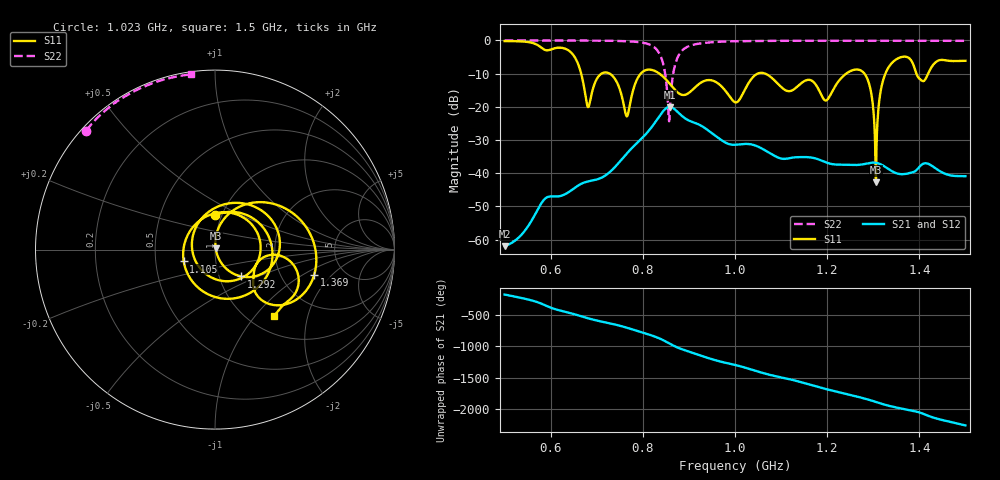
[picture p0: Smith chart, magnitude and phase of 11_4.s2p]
! TOUCHSTONE file generated by CST MICROWAVE STUDIO
! Date and time: Sat Nov 14 19:59:45 2020
! Project name: Scenario_1_Planar_Body_Tissue_Out_of_Line.cst
! Parameters = {dy1=173; L_HA=400; Ltissue=700; MT=2.54; Rad_Dielectric=30; Rad_Lower=7.3; Rad_Upper=30; Wtissue=700; a_HA=580; a_WG=246; b_HA=500; b_WG=121; c_HA=0; c_WG=187; d_feed=85; dx1=693; h_feed=15; h_lower=18; h_upper=40; hfat=3; hgap=25; hmuscle=50; hskin=1.5}
! Header version: 2018
! Port assignment regex: !\s*Touchstone port\s*([0-9]+)\s*=\s*(CST MWS port|CST DS port)\s*([0-9]+|Zmin|Zmax)\s*\(\"(.*)\"\)(\s*mode\s*([0-9]+))?.*
! Touchstone port assignment:
! Touchstone port 1 = CST MWS port 1 ("")
! Touchstone port 2 = CST MWS port 2 ("")
# GHz S DB R 50
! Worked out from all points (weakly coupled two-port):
!   1003 points, 500 MHz to 1.5 GHz, reference 50 ohm
!   highest |S21| = -20.05 dB at 858 MHz (marker M1); lowest = -62.0 dB at 500 MHz (marker M2)
!   lowest |S11| = -42.7 dB at 1.306 GHz (marker M3), VSWR 1.01, Z = 50.4 + j0.626 ohm
!   |S11| at or under -10 dB: 728 MHz to 795.5 MHz (67.47 MHz wide, 8.86 % of centre); 836 MHz to 1.049 GHz (213.2 MHz wide, 22.6 % of centre); 1.065 GHz to 1.241 GHz (175.8 MHz wide, 15.2 % of centre) (the widest 3 of 6)
!   |S22| runs from -24.3 to 0.0 dB; largest |S21 - S12| = 1.4e-05
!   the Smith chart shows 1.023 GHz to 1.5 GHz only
!   S11 on the Smith chart (normalised r, x): 1.023 GHz: 0.93, +0.37; 1.105 GHz: 0.70, -0.10; 1.292 GHz: 1.28, -0.40; 1.369 GHz: 3.07, -1.28; 1.5 GHz: 1.29, -1.26
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0.5  -0.19 -121.6  -61.97 -177.6  -61.97 -177.6  -0.01 151.2
0.621  -2.19 174.0  -46.85 -72.6  -46.85 -72.6  -0.02 142.5
0.667  -10.45 106.4  -43.13 -164.3  -43.13 -164.3  -0.04 138.4
0.682  -20.03 151.3  -42.44 163.1  -42.44 163.1  -0.05 136.8
0.731  -10.28 121.4  -39.31 80.4  -39.31 80.4  -0.11 130.7
0.765  -22.87 -26.8  -34.08 16.3  -34.08 16.3  -0.24 124.2
0.799  -9.53 160.3  -29.33 -60.4  -29.33 -60.4  -0.67 112.9
0.834  -9.81 64.1  -23.19 -148.3  -23.19 -148.3  -3.49 82.7
0.858  -12.98 -6.0  -20.05 123.4  -20.05 123.4  -22.98 -80.2
0.887  -16.44 -110.0  -22.99 27.9  -22.99 27.9  -2.81 178.1
1  -18.61 -158.4  -31.42 144.5  -31.42 144.5  -0.25 140.0
1.023  -14.41 90.5  -31.16 98.7  -31.16 98.7  -0.21 137.2
1.054  -9.80 -10.6  -32.24 29.6  -32.24 29.6  -0.16 133.9
1.105  -14.59 -159.3  -35.67 -60.3  -35.67 -60.3  -0.12 129.2
1.167  -12.15 -15.7  -35.30 -178.5  -35.30 -178.5  -0.08 124.1
1.235  -10.73 63.6  -37.44 55.7  -37.44 55.7  -0.09 118.9
1.292  -13.55 -45.5  -36.93 -52.3  -36.93 -52.3  -0.08 114.6
1.306  -42.68 57.7  -36.87 -84.6  -36.87 -84.6  -0.09 113.6
1.334  -7.95 40.4  -38.82 -145.3  -38.82 -145.3  -0.09 111.5
1.369  -4.88 -14.2  -40.23 161.3  -40.23 161.2  -0.09 108.8
1.407  -12.24 -25.0  -37.24 92.0  -37.24 92.0  -0.09 105.7
1.5  -6.13 -48.4  -40.89 -97.3  -40.89 -97.3  -0.13 97.9
